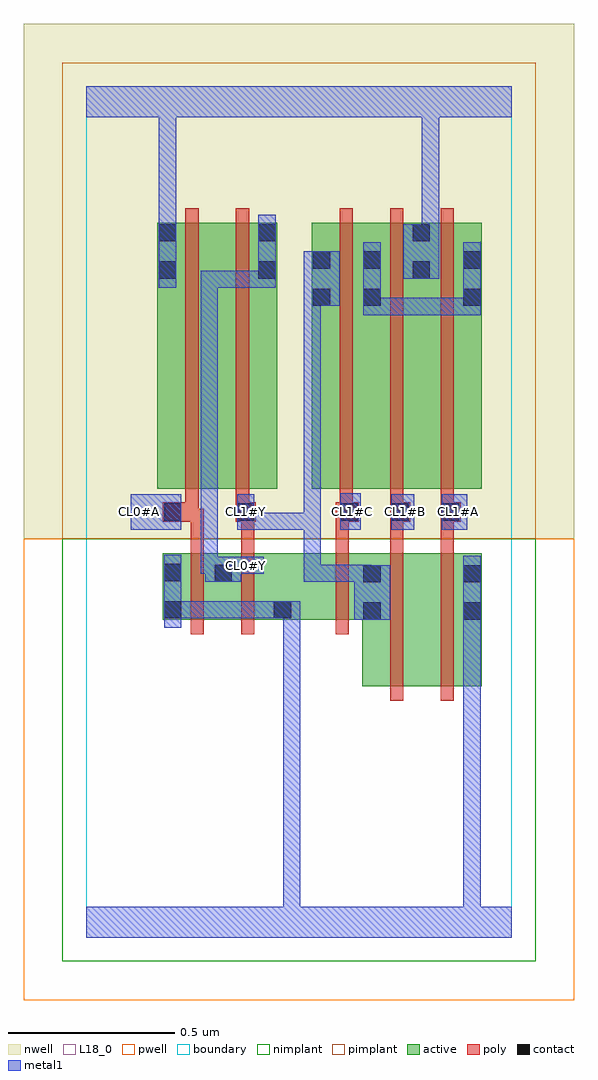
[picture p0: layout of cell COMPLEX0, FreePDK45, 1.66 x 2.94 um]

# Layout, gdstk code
import gdstk
lib = gdstk.Library(unit=1e-6, precision=1e-09)
def R(c, l, rs):  # rectangles x0, y0, x1, y1
    for r in rs: c.add(gdstk.rectangle(r[:2], r[2:], *l))
def A(c, l, x, y, w, h, nx, ny, dx, dy):  # array of equal rectangles
    R(c, l, [(x+i*dx, y+j*dy, x+i*dx+w, y+j*dy+h) for i in range(nx) for j in range(ny)])
active = (1, 0)
pwell = (2, 0)
nwell = (3, 0)
nimplant = (4, 0)
pimplant = (5, 0)
poly = (9, 0)
contact = (10, 0)
metal1 = (11, 0)
L18_0 = (18, 0)
boundary = (235, 0)

complex0 = lib.new_cell('COMPLEX0')
R(complex0, active, [(0.83,0.756,0.89,1.156), (0.83,0.756,1.01,1.156), (1.01,0.756,1.19,1.156), (1.13,0.756,1.19,1.156), (0.23,0.956,0.29,1.156), (0.23,0.956,0.442,1.156), (0.382,0.956,0.62,1.156), (0.382,0.956,0.442,1.126), (0.56,0.956,0.89,1.156), (0.56,0.956,0.62,1.156), (0.214,1.35,0.274,2.15), (0.214,1.35,0.394,2.15), (0.394,1.35,0.574,2.15), (0.514,1.35,0.574,2.15), (0.678,1.35,0.738,2.15), (0.678,1.35,0.89,2.15), (0.83,1.35,1.038,2.15), (0.978,1.35,1.19,2.15), (1.13,1.35,1.19,2.15), (0.83,1.686,0.89,2.068), (0.978,1.686,1.038,2.15)])
R(complex0, pwell, [(-0.188,-0.188,1.468,1.2)])
R(complex0, nwell, [(-0.188,1.2,1.468,2.748)])
R(complex0, nimplant, [(-0.072,-0.072,1.352,1.2)])
R(complex0, pimplant, [(-0.072,1.2,1.352,2.632)])
A(complex0, poly, 0.762, 1.27, 0.04, 0.076, 3, 1, 0.152, 0)
A(complex0, poly, 0.762, 1.306, 0.04, 0.888, 3, 1, 0.152, 0)
R(complex0, poly, [(0.914,0.712,0.954,1.2), (1.066,0.712,1.106,1.2), (0.314,0.912,0.354,1.2), (0.466,0.912,0.506,1.2), (0.75,0.912,0.79,1.2), (0.314,1.16,0.354,1.29), (0.466,1.16,0.506,1.29), (0.75,1.16,0.79,1.29), (0.914,1.16,0.954,1.29), (1.066,1.16,1.106,1.29), (0.23,1.25,0.338,1.31), (0.298,1.25,0.338,1.29), (0.298,1.25,0.354,1.29), (0.45,1.25,0.51,1.31), (0.466,1.25,0.506,1.29), (0.466,1.25,0.506,1.29), (0.75,1.25,0.82,1.31), (0.914,1.25,0.974,1.31), (1.066,1.25,1.126,1.31), (0.298,1.27,0.338,1.346), (0.45,1.27,0.49,1.346), (0.762,1.27,0.802,1.31), (0.762,1.27,0.802,1.31), (0.914,1.27,0.954,1.31), (0.914,1.27,0.954,1.31), (1.066,1.27,1.106,1.31), (1.066,1.27,1.106,1.31), (0.298,1.306,0.338,2.194), (0.45,1.306,0.49,2.194)])
R(complex0, contact, [(0.834,0.956,0.886,1.008), (1.134,0.956,1.186,1.008), (0.234,0.96,0.286,1.012), (0.564,0.96,0.616,1.012), (0.834,1.068,0.886,1.12), (1.134,1.068,1.186,1.12), (0.386,1.07,0.438,1.122), (0.234,1.072,0.286,1.124), (0.234,1.254,0.286,1.306), (0.454,1.254,0.506,1.306), (0.764,1.254,0.816,1.306), (0.918,1.254,0.97,1.306), (1.07,1.254,1.122,1.306), (0.682,1.9,0.734,1.952), (0.834,1.9,0.886,1.952), (1.134,1.9,1.186,1.952), (0.218,1.982,0.27,2.034), (0.518,1.982,0.57,2.034), (0.982,1.982,1.034,2.034), (0.682,2.012,0.734,2.064), (0.834,2.012,0.886,2.064), (1.134,2.012,1.186,2.064), (0.218,2.094,0.27,2.146), (0.518,2.094,0.57,2.146), (0.982,2.094,1.034,2.146)])
R(complex0, metal1, [(0,0,1.28,0.092), (0.592,0.04,0.644,0.092), (0.592,0.04,0.644,0.092), (0.592,0.04,0.644,0.092), (0.592,0.04,0.644,0.092), (0.592,0.04,0.644,0.092), (0.592,0.04,0.644,0.092), (0.592,0.04,0.644,0.092), (0.592,0.04,0.644,0.092), (0.592,0.04,0.644,0.092), (0.592,0.04,0.644,0.092), (0.592,0.04,0.644,0.092), (0.592,0.04,0.644,0.092), (0.592,0.04,0.644,0.092), (0.592,0.04,0.644,0.092), (0.592,0.04,0.644,1.012), (1.134,0.04,1.186,0.092), (1.134,0.04,1.186,0.092), (1.134,0.04,1.186,0.98), (1.134,0.928,1.186,0.98), (1.134,0.928,1.186,0.98), (1.134,0.928,1.186,0.98), (1.134,0.928,1.186,0.98), (1.134,0.928,1.186,0.98), (1.134,0.928,1.186,0.98), (1.134,0.928,1.186,0.98), (1.134,0.928,1.186,0.98), (1.134,0.928,1.186,0.98), (1.134,0.928,1.186,0.98), (1.134,0.928,1.186,1.148), (0.234,0.932,0.286,1.152), (0.806,0.956,0.914,1.12), (0.234,0.96,0.396,1.012), (0.344,0.96,0.396,1.012), (0.344,0.96,0.396,1.012), (0.344,0.96,0.396,1.012), (0.344,0.96,0.588,1.012), (0.536,0.96,0.588,1.012), (0.536,0.96,0.588,1.012), (0.536,0.96,0.644,1.012), (0.592,0.96,0.644,1.012), (0.592,0.96,0.644,1.012), (0.806,1.068,0.858,1.12), (0.806,1.068,0.858,1.122), (0.358,1.07,0.466,1.122), (0.414,1.07,0.466,1.146), (0.654,1.07,0.706,1.122), (0.654,1.07,0.706,1.122), (0.654,1.07,0.706,1.122), (0.654,1.07,0.858,1.122), (0.654,1.07,0.706,1.278), (0.344,1.094,0.396,1.146), (0.344,1.094,0.396,1.146), (0.344,1.094,0.396,2.006), (0.344,1.094,0.534,1.146), (0.134,1.226,0.286,1.334), (0.454,1.226,0.706,1.278), (0.454,1.226,0.506,1.334), (0.654,1.226,0.706,1.278), (0.654,1.226,0.706,1.278), (0.654,1.226,0.706,1.278), (0.654,1.226,0.706,1.952), (0.764,1.226,0.826,1.336), (0.918,1.226,0.986,1.334), (1.07,1.226,1.146,1.334), (0.834,1.872,0.886,2.092), (0.834,1.872,1.012,1.924), (0.96,1.872,1.012,1.924), (0.96,1.872,1.012,1.924), (0.96,1.872,1.012,1.924), (0.96,1.872,1.186,1.924), (1.134,1.872,1.186,1.924), (1.134,1.872,1.186,1.924), (1.134,1.872,1.186,2.092), (0.654,1.9,0.762,2.064), (0.218,1.954,0.27,2.174), (0.344,1.954,0.396,2.006), (0.344,1.954,0.506,2.006), (0.454,1.954,0.506,2.006), (0.454,1.954,0.57,2.006), (0.518,1.954,0.57,2.174), (0.954,1.982,1.062,2.146), (1.01,2.094,1.062,2.52), (0.218,2.122,0.27,2.174), (0.218,2.122,0.27,2.174), (0.218,2.122,0.27,2.52), (0,2.468,1.28,2.56), (0.218,2.468,0.27,2.52), (0.218,2.468,0.27,2.52), (0.218,2.468,0.27,2.52), (0.218,2.468,0.27,2.52), (0.218,2.468,0.27,2.52), (0.218,2.468,0.27,2.52), (1.01,2.468,1.062,2.52), (1.01,2.468,1.062,2.52), (1.01,2.468,1.062,2.52), (1.01,2.468,1.062,2.52), (1.01,2.468,1.062,2.52), (1.01,2.468,1.062,2.52), (1.01,2.468,1.062,2.52), (1.01,2.468,1.062,2.52)])
A(complex0, L18_0, 0.134, 1.254, 0.052, 0.052, 3, 1, 0.32, 0)
R(complex0, L18_0, [(0,0,1.28,0.092), (0.592,0.04,0.644,0.092), (0.592,0.04,0.644,0.092), (0.592,0.04,0.644,0.092), (0.592,0.04,0.644,0.092), (0.592,0.04,0.644,0.092), (0.592,0.04,0.644,0.092), (0.592,0.04,0.644,0.092), (0.592,0.04,0.644,0.092), (0.592,0.04,0.644,0.092), (0.592,0.04,0.644,0.092), (0.592,0.04,0.644,0.092), (0.592,0.04,0.644,0.092), (0.592,0.04,0.644,0.092), (0.592,0.04,0.644,0.092), (0.592,0.04,0.644,1.012), (1.134,0.04,1.186,0.092), (1.134,0.04,1.186,0.092), (1.134,0.04,1.186,0.98), (1.134,0.928,1.186,1.148), (1.134,0.928,1.186,0.98), (1.134,0.928,1.186,0.98), (1.134,0.928,1.186,0.98), (1.134,0.928,1.186,0.98), (1.134,0.928,1.186,0.98), (1.134,0.928,1.186,0.98), (1.134,0.928,1.186,0.98), (1.134,0.928,1.186,0.98), (1.134,0.928,1.186,0.98), (1.134,0.928,1.186,0.98), (0.234,0.932,0.286,1.152), (0.806,0.956,0.914,1.12), (0.234,0.96,0.396,1.012), (0.344,0.96,0.396,1.012), (0.344,0.96,0.396,1.012), (0.344,0.96,0.396,1.012), (0.344,0.96,0.588,1.012), (0.536,0.96,0.588,1.012), (0.536,0.96,0.588,1.012), (0.536,0.96,0.644,1.012), (0.592,0.96,0.644,1.012), (0.592,0.96,0.644,1.012), (0.806,1.068,0.858,1.12), (0.806,1.068,0.858,1.122), (0.358,1.07,0.466,1.122), (0.414,1.07,0.466,1.146), (0.654,1.07,0.706,1.122), (0.654,1.07,0.706,1.122), (0.654,1.07,0.706,1.122), (0.654,1.07,0.706,1.278), (0.654,1.07,0.858,1.122), (0.344,1.094,0.396,1.146), (0.344,1.094,0.396,1.146), (0.344,1.094,0.534,1.146), (0.344,1.094,0.396,2.006), (0.454,1.094,0.506,1.146), (0.134,1.226,0.286,1.334), (0.454,1.226,0.506,1.334), (0.454,1.226,0.706,1.278), (0.654,1.226,0.706,1.278), (0.654,1.226,0.706,1.278), (0.654,1.226,0.706,1.278), (0.654,1.226,0.706,1.952), (0.764,1.226,0.826,1.336), (0.918,1.226,0.986,1.334), (1.07,1.226,1.146,1.334), (0.934,1.254,0.986,1.306), (1.094,1.254,1.146,1.306), (0.654,1.9,0.762,2.064), (0.218,1.954,0.27,2.174), (0.344,1.954,0.396,2.006), (0.344,1.954,0.506,2.006), (0.454,1.954,0.506,2.006), (0.454,1.954,0.57,2.006), (0.518,1.954,0.57,2.174), (0.954,1.982,1.062,2.146), (1.01,2.094,1.062,2.52), (0.218,2.122,0.27,2.174), (0.218,2.122,0.27,2.174), (0.218,2.122,0.27,2.52), (0,2.468,1.28,2.56), (0.218,2.468,0.27,2.52), (0.218,2.468,0.27,2.52), (0.218,2.468,0.27,2.52), (0.218,2.468,0.27,2.52), (0.218,2.468,0.27,2.52), (0.218,2.468,0.27,2.52), (1.01,2.468,1.062,2.52), (1.01,2.468,1.062,2.52), (1.01,2.468,1.062,2.52), (1.01,2.468,1.062,2.52), (1.01,2.468,1.062,2.52), (1.01,2.468,1.062,2.52), (1.01,2.468,1.062,2.52), (1.01,2.468,1.062,2.52)])
R(complex0, boundary, [(0,0,1.28,2.56)])
complex0.add(gdstk.Label('CL0#A', (0.16,1.28), layer=11, texttype=0))
complex0.add(gdstk.Label('CL0#Y', (0.48,1.12), layer=11, texttype=0))
complex0.add(gdstk.Label('CL1#A', (1.12,1.28), layer=11, texttype=0))
complex0.add(gdstk.Label('CL1#B', (0.96,1.28), layer=11, texttype=0))
complex0.add(gdstk.Label('CL1#C', (0.8,1.28), layer=11, texttype=0))
complex0.add(gdstk.Label('CL1#Y', (0.48,1.28), layer=11, texttype=0))

lib.write_gds('COMPLEX0.gds')
